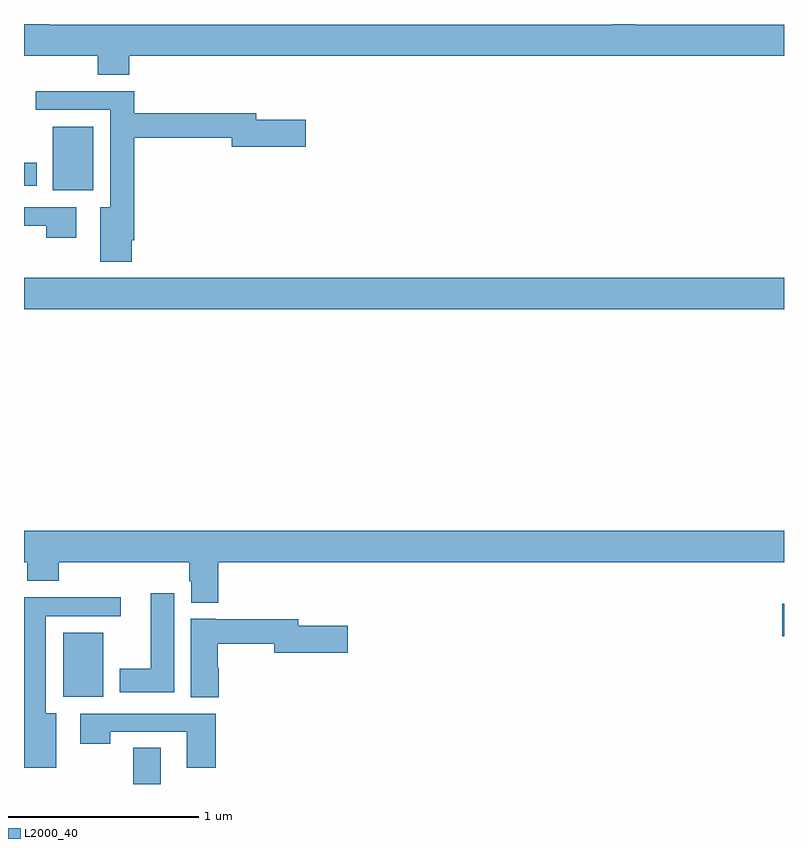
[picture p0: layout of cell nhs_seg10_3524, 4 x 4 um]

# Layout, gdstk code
import gdstk
lib = gdstk.Library(unit=1e-6, precision=1e-09)
def R(c, l, rs):  # rectangles x0, y0, x1, y1
    for r in rs: c.add(gdstk.rectangle(r[:2], r[2:], *l))
def P(c, l, *ps):  # polygons
    for p in ps: c.add(gdstk.Polygon(p, *l))
L2000_40 = (2000, 40)

nhs_seg10_3524 = lib.new_cell('nhs_seg10_3524')
R(nhs_seg10_3524, L2000_40, [(303.574,1280.5,303.721,1280.69), (303.206,1280.96,303.418,1281.295), (306.99,1281.278,307,1281.448), (303,1283,307,1283.164), (303.152,1283.624,303.364,1283.959), (303,1283.648,303.067,1283.77)])
P(nhs_seg10_3524, L2000_40, [(303.554,1284.332),(307,1284.332),(307,1284.496),(306.217,1284.496),(306.217,1284.5),(306.095,1284.5),(306.095,1284.496),(303.134,1284.496),(303.134,1284.5),(303,1284.5),(303,1284.332),(303.389,1284.332),(303.389,1284.233),(303.554,1284.233)],
  [(303.568,1283.362),(303.581,1283.362),(303.581,1283.902),(304.094,1283.902),(304.094,1283.855),(304.483,1283.855),(304.483,1283.997),(304.222,1283.997),(304.222,1284.031),(303.581,1284.031),(303.581,1284.146),(303.063,1284.146),(303.063,1284.048),(303.455,1284.048),(303.455,1283.536),(303.401,1283.536),(303.401,1283.25),(303.568,1283.25)],
  [(303.274,1283.535),(303,1283.535),(303,1283.439),(303.118,1283.439),(303.118,1283.376),(303.274,1283.376)],
  [(304.022,1281.668),(307,1281.668),(307,1281.832),(303,1281.832),(303,1281.668),(303.017,1281.668),(303.017,1281.569),(303.182,1281.569),(303.182,1281.668),(303.869,1281.668),(303.869,1281.567),(303.881,1281.567),(303.881,1281.455),(304.022,1281.455)],
  [(303.79,1281.505),(303.668,1281.505),(303.668,1281.106),(303.503,1281.106),(303.503,1280.984),(303.79,1280.984)],
  [(303.169,1280.872),(303.115,1280.872),(303.115,1281.384),(303.508,1281.384),(303.508,1281.482),(303,1281.482),(303,1280.802),(303.002,1280.802),(303.002,1280.586),(303.169,1280.586)],
  [(304.025,1281.113),(304.02,1281.113),(304.02,1281.238),(304.316,1281.238),(304.316,1281.191),(304.705,1281.191),(304.705,1281.333),(304.444,1281.333),(304.444,1281.367),(304.008,1281.367),(304.008,1281.37),(303.878,1281.37),(303.878,1280.956),(304.025,1280.956)],
  [(304.01,1280.871),(303.297,1280.871),(303.297,1280.712),(303.453,1280.712),(303.453,1280.775),(303.857,1280.775),(303.857,1280.586),(304.01,1280.586)])

lib.write_gds('nhs_seg10_3524.gds')
